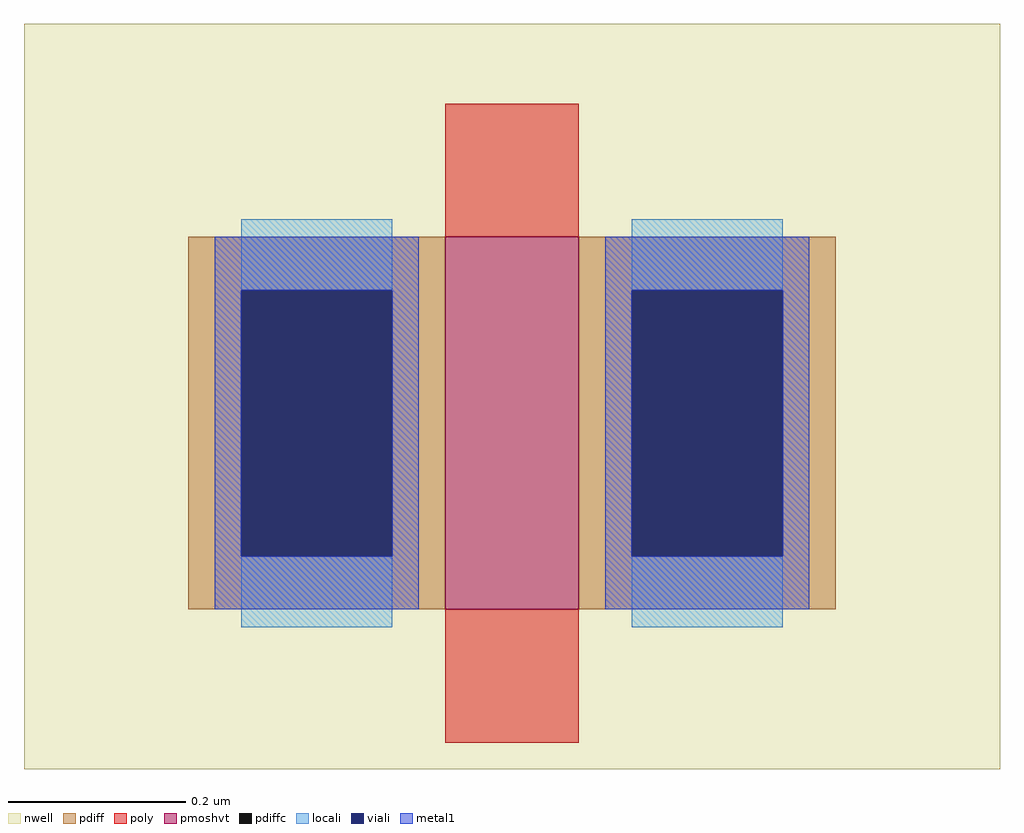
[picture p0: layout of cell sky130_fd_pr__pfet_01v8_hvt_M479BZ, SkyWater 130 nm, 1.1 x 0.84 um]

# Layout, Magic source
magic
tech sky130A
magscale 1 2
<< nwell >>
rect -110 -78 110 90
<< pmoshvt >>
rect -15 -42 15 42
<< pdiff >>
rect -73 30 -15 42
rect -73 -30 -61 30
rect -27 -30 -15 30
rect -73 -42 -15 -30
rect 15 30 73 42
rect 15 -30 27 30
rect 61 -30 73 30
rect 15 -42 73 -30
<< pdiffc >>
rect -61 -30 -27 30
rect 27 -30 61 30
<< poly >>
rect -15 42 15 72
rect -15 -72 15 -42
<< locali >>
rect -61 30 -27 46
rect -61 -46 -27 -30
rect 27 30 61 46
rect 27 -46 61 -30
<< viali >>
rect -61 -30 -27 30
rect 27 -30 61 30
<< metal1 >>
rect -67 30 -21 42
rect -67 -30 -61 30
rect -27 -30 -21 30
rect -67 -42 -21 -30
rect 21 30 67 42
rect 21 -30 27 30
rect 61 -30 67 30
rect 21 -42 67 -30
<< properties >>
string FIXED_BBOX -158 -208 158 208
string gencell sky130_fd_pr__pfet_01v8_hvt
string library sky130
string parameters w 0.42 l 0.15 m 1 nf 1 diffcov 100 polycov 100 guard 1 glc 1 grc 1 gtc 1 gbc 1 tbcov 100 rlcov 100 topc 1 botc 1 poverlap 0 doverlap 1 lmin 0.15 wmin 0.42 compatible {sky130_fd_pr__pfet_01v8  sky130_fd_pr__pfet_01v8_lvt sky130_fd_pr__pfet_01v8_hvt  sky130_fd_pr__pfet_g5v0d10v5} full_metal 1 viasrc 100 viadrn 100 viagate 100 viagb 0 viagr 0 viagl 0 viagt 0
<< end >>
